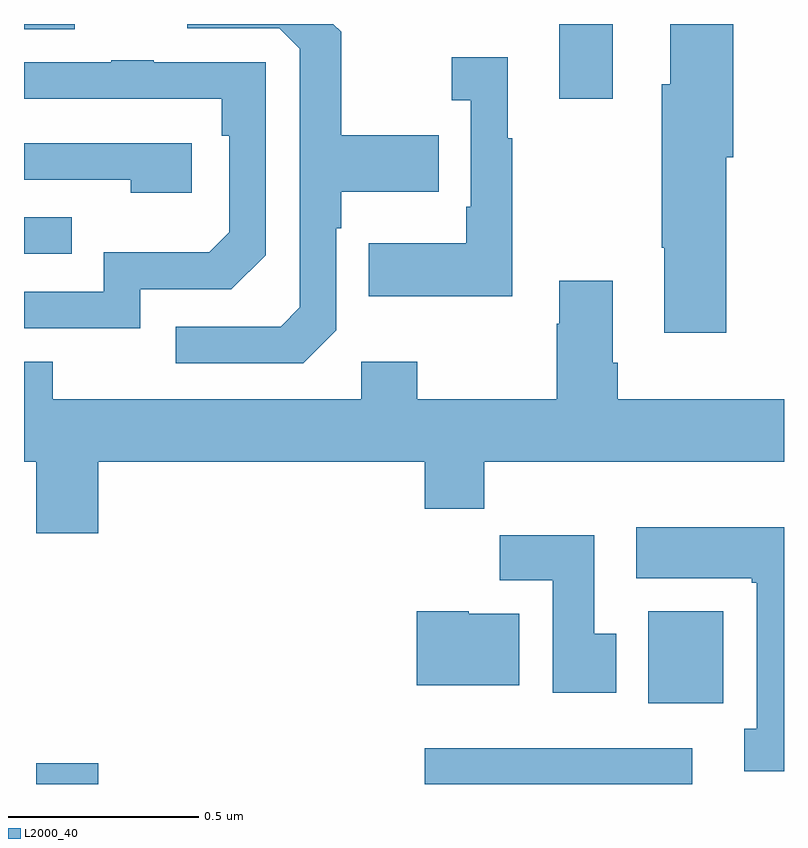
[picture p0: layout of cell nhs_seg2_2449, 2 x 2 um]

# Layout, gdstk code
import gdstk
lib = gdstk.Library(unit=1e-6, precision=1e-09)
def R(c, l, rs):  # rectangles x0, y0, x1, y1
    for r in rs: c.add(gdstk.rectangle(r[:2], r[2:], *l))
def P(c, l, *ps):  # polygons
    for p in ps: c.add(gdstk.Polygon(p, *l))
L2000_40 = (2000, 40)

nhs_seg2_2449 = lib.new_cell('nhs_seg2_2449')
R(nhs_seg2_2449, L2000_40, [(141.032,634.8,141.196,634.855), (142.055,634.8,142.759,634.894), (142.643,635.012,142.84,635.254), (141,636.195,141.125,636.291), (142.409,636.603,142.549,636.8), (141,636.786,141.133,636.8)])
P(nhs_seg2_2449, L2000_40, [(141.822,635.994),(141.822,636.263),(141.835,636.263),(141.835,636.359),(142.091,636.359),(142.091,636.507),(141.835,636.507),(141.835,636.779),(141.814,636.8),(141.429,636.8),(141.429,636.789),(141.672,636.789),(141.726,636.735),(141.726,636.054),(141.675,636.003),(141.399,636.003),(141.399,635.907),(141.735,635.907)],
  [(142.848,636.45),(142.866,636.45),(142.866,636.799),(142.7,636.799),(142.7,636.642),(142.678,636.642),(142.678,636.211),(142.685,636.211),(142.685,635.988),(142.848,635.988)],
  [(142.285,636.499),(142.273,636.499),(142.273,636.712),(142.125,636.712),(142.125,636.599),(142.176,636.599),(142.176,636.319),(142.164,636.319),(142.164,636.223),(141.907,636.223),(141.907,636.083),(142.285,636.083)],
  [(141.306,636.102),(141.546,636.102),(141.636,636.192),(141.636,636.699),(141.341,636.699),(141.341,636.704),(141.229,636.704),(141.229,636.699),(141,636.699),(141,636.603),(141.52,636.603),(141.52,636.506),(141.54,636.506),(141.54,636.252),(141.487,636.199),(141.21,636.199),(141.21,636.096),(141,636.096),(141,636),(141.306,636)],
  [(141.442,636.486),(141,636.486),(141,636.39),(141.281,636.39),(141.281,636.356),(141.442,636.356)],
  [(141.196,635.648),(142.055,635.648),(142.055,635.524),(142.211,635.524),(142.211,635.648),(143,635.648),(143,635.812),(142.562,635.812),(142.562,635.908),(142.549,635.908),(142.549,636.124),(142.409,636.124),(142.409,636.011),(142.402,636.011),(142.402,635.812),(142.035,635.812),(142.035,635.911),(141.888,635.911),(141.888,635.812),(141.075,635.812),(141.075,635.911),(141,635.911),(141,635.648),(141.032,635.648),(141.032,635.46),(141.196,635.46)],
  [(143,635.476),(142.611,635.476),(142.611,635.342),(142.915,635.342),(142.915,635.329),(142.928,635.329),(142.928,634.946),(142.895,634.946),(142.895,634.833),(143,634.833)],
  [(142.558,635.196),(142.501,635.196),(142.501,635.455),(142.252,635.455),(142.252,635.336),(142.391,635.336),(142.391,635.04),(142.558,635.04)],
  [(142.303,635.248),(142.17,635.248),(142.17,635.254),(142.034,635.254),(142.034,635.06),(142.303,635.06)])

lib.write_gds('nhs_seg2_2449.gds')
